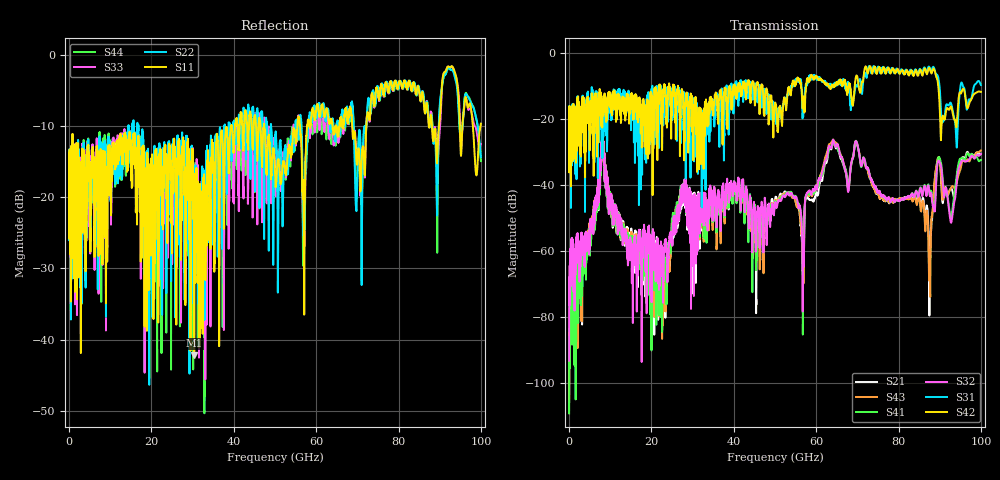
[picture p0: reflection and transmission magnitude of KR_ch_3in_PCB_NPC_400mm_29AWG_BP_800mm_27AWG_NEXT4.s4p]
! Created Fri Mar  3 09:17:56 2023
# ghz S ma R 45
! 4 Port Network Data from SP1.SP block
! freq  magS11  angS11  magS12  angS12  magS13  angS13  magS14  angS14
!  magS21  angS21  magS22  angS22  magS23  angS23  magS24  angS24
!  magS31  angS31  magS32  angS32  magS33  angS33  magS34  angS34
!  magS41  angS41  magS42  angS42  magS43  angS43  magS44  angS44
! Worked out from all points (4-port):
!   4000 points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, 25 MHz to 100 GHz, reference 45 ohm
!   strongest paths, dB at 25 MHz, 25.02 GHz, 50.02 GHz, 75.03 GHz, 100 GHz:
!     S42: -20.1, -13.2, -15.4, -5.0, -11.8
!     S31: -20.1, -19.9, -18.3, -4.2, -9.7
!     S32: -93.2, -58.0, -45.5, -42.0, -30.7
!     S41: -109.2, -51.3, -45.0, -42.0, -32.5
!     S43: -105.1, -53.3, -44.6, -42.5, -29.6
!     S21: -105.8, -54.2, -44.5, -42.7, -30.5
!   lowest |S11| = -42.2 dB at 30.4 GHz (marker M1), VSWR 1.02, Z = 45.5 + j0.474 ohm
!   |S11| at or under -10 dB: start of sweep to 39.35 GHz; 47.41 GHz to 55.46 GHz (8.052 GHz wide, 15.7 % of centre); 68.74 GHz to 72.19 GHz (3.452 GHz wide, 4.9 % of centre) (the widest 3 of 25)
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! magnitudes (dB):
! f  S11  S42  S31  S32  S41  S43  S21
! 25 MHz  -15.7  -20.1  -20.1  -93.2  -109.2  -105.1  -105.8
! 8.125 GHz  -29.4  -16.2  -27.7  -24.4  -24.8  -24.5  -24.9
! 23.05 GHz  -18.7  -10.2  -19.3  -60.0  -60.9  -64.9  -64.1
! 30.4 GHz  -42.2  -21.8  -25.4  -46.0  -46.4  -45.2  -45.2
! 69.78 GHz  -14.8  -6.9  -9.8  -26.9  -26.8  -26.9  -27.1
! 87.58 GHz  -9.8  -4.7  -4.6  -43.3  -43.1  -63.5  -61.4
! 100 GHz  -9.7  -11.8  -9.7  -30.7  -32.5  -29.6  -30.5
